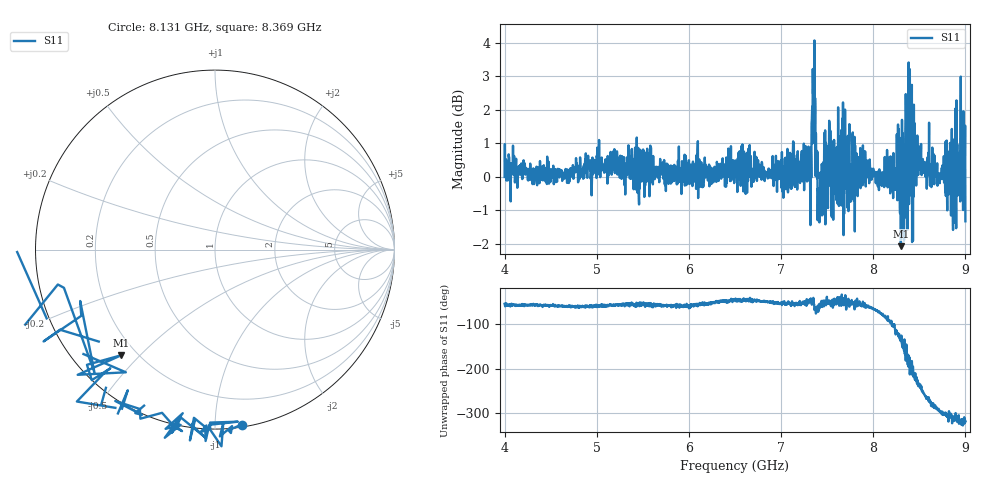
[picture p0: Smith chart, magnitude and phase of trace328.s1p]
! Created with skrf 1.8.0 (http://scikit-rf.org).
# Hz S RI R 50.0
!freq ReS11 ImS11
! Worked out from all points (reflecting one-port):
!   1601 points, 4 GHz to 9 GHz, reference 50 ohm
!   lowest |S11| = -2.1 dB at 8.3 GHz (marker M1), VSWR 8.41, Z = 7.12 - j22.1 ohm
!   phase of S11 starts at -54 deg and turns -264 deg over the sweep
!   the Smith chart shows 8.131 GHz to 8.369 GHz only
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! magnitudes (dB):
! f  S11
! 4 GHz  0.0
! 4.625 GHz  -0.1
! 5.25 GHz  0.0
! 5.875 GHz  -0.2
! 6.5 GHz  0.1
! 7.125 GHz  0.4
! 7.303 GHz  -0.1
! 7.356 GHz  2.9
! 7.369 GHz  2.4
! 7.397 GHz  -1.3
! 7.422 GHz  -1.0
! 7.509 GHz  -0.9
! 7.591 GHz  0.6
! 7.65 GHz  0.3
! 7.75 GHz  -0.3
! 7.891 GHz  0.0
! 8.094 GHz  -0.3
! 8.259 GHz  0.2
! 8.3 GHz  -2.1
! 8.319 GHz  1.3
! 8.334 GHz  -1.9
! 8.375 GHz  0.7
! 8.412 GHz  1.3
! 8.422 GHz  -2.0
! 8.447 GHz  1.6
! 8.722 GHz  -0.2
! 8.972 GHz  0.8
! 9 GHz  -1.3
